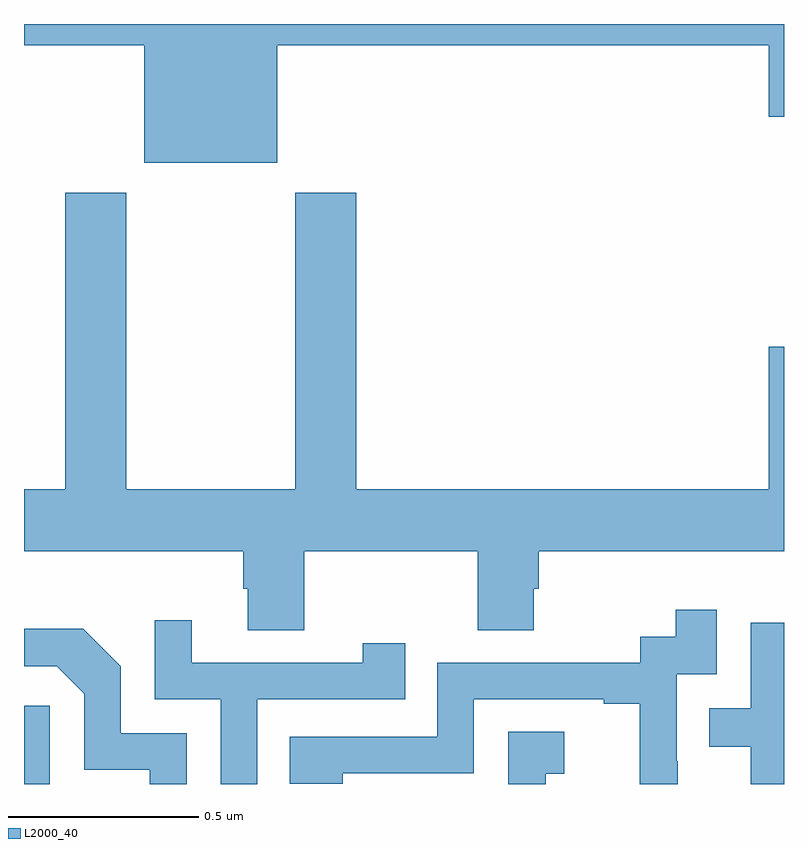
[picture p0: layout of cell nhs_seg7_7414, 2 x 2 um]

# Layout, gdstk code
import gdstk
lib = gdstk.Library(unit=1e-6, precision=1e-09)
def R(c, l, rs):  # rectangles x0, y0, x1, y1
    for r in rs: c.add(gdstk.rectangle(r[:2], r[2:], *l))
def P(c, l, *ps):  # polygons
    for p in ps: c.add(gdstk.Polygon(p, *l))
L2000_40 = (2000, 40)

nhs_seg7_7414 = lib.new_cell('nhs_seg7_7414')
R(nhs_seg7_7414, L2000_40, [(211,1004,211.068,1004.206)])
P(nhs_seg7_7414, L2000_40, [(211.666,1005.944),(212.96,1005.944),(212.96,1005.756),(213,1005.756),(213,1006),(211,1006),(211,1005.944),(211.316,1005.944),(211.316,1005.635),(211.666,1005.635)],
  [(211.737,1004.612),(212.194,1004.612),(212.194,1004.404),(212.341,1004.404),(212.341,1004.514),(212.354,1004.514),(212.354,1004.612),(213,1004.612),(213,1005.151),(212.96,1005.151),(212.96,1004.776),(211.874,1004.776),(211.874,1005.556),(211.714,1005.556),(211.714,1004.776),(211.269,1004.776),(211.269,1005.556),(211.109,1005.556),(211.109,1004.776),(211,1004.776),(211,1004.612),(211.577,1004.612),(211.577,1004.514),(211.589,1004.514),(211.589,1004.404),(211.737,1004.404)],
  [(212.72,1004.06),(212.718,1004.06),(212.718,1004.289),(212.823,1004.289),(212.823,1004.458),(212.715,1004.458),(212.715,1004.388),(212.622,1004.388),(212.622,1004.319),(212.088,1004.319),(212.088,1004.124),(211.699,1004.124),(211.699,1004.001),(211.839,1004.001),(211.839,1004.028),(212.184,1004.028),(212.184,1004.223),(212.525,1004.223),(212.525,1004.211),(212.621,1004.211),(212.621,1004),(212.72,1004)],
  [(211.614,1004.223),(212.003,1004.223),(212.003,1004.371),(211.892,1004.371),(211.892,1004.319),(211.441,1004.319),(211.441,1004.431),(211.344,1004.431),(211.344,1004.223),(211.518,1004.223),(211.518,1004),(211.614,1004)],
  [(213,1004.424),(212.913,1004.424),(212.913,1004.199),(212.803,1004.199),(212.803,1004.098),(212.913,1004.098),(212.913,1004),(213,1004)],
  [(211.428,1004.133),(211.254,1004.133),(211.254,1004.31),(211.156,1004.408),(211,1004.408),(211,1004.31),(211.086,1004.31),(211.158,1004.238),(211.158,1004.037),(211.331,1004.037),(211.331,1004),(211.428,1004)],
  [(212.373,1004.027),(212.422,1004.027),(212.422,1004.137),(212.274,1004.137),(212.274,1004),(212.373,1004)])

lib.write_gds('nhs_seg7_7414.gds')
